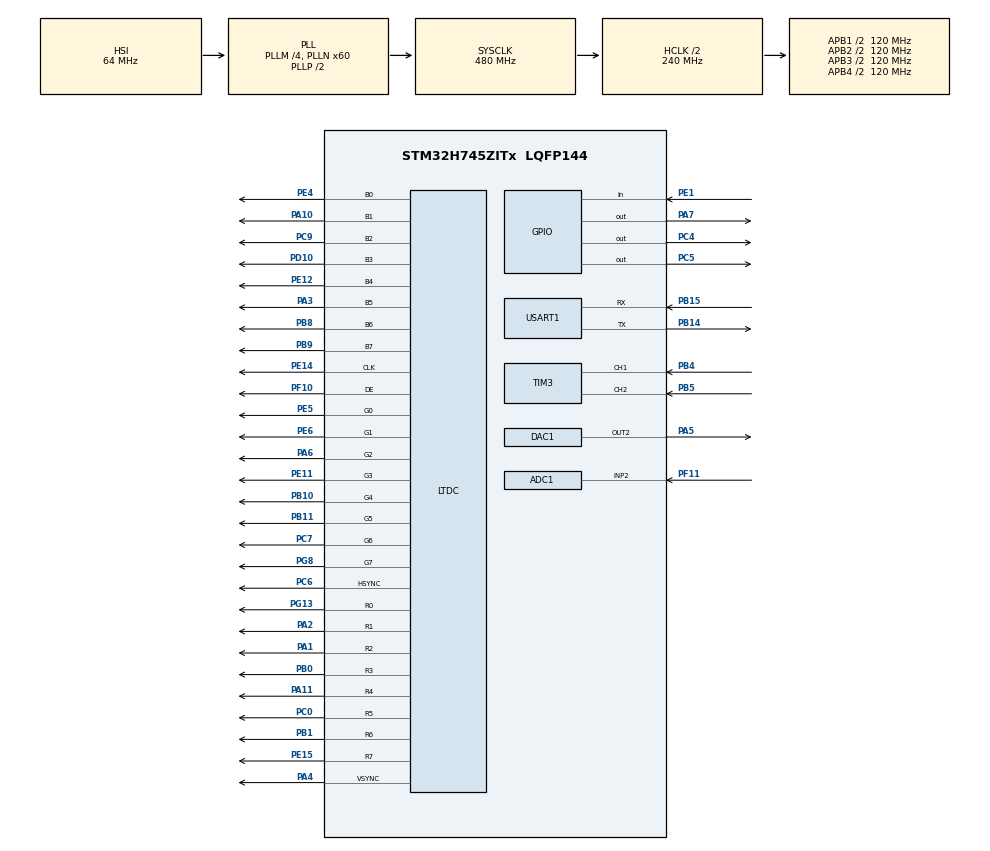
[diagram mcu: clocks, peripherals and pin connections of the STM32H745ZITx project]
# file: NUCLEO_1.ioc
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CORTEX_M7.default_mode_Activation=1
CortexM4.IPs=FATFS_M4\:I,FREERTOS_M4\:I,IWDG2\:I,RCC,WWDG2\:I,DMA,BDMA,MDMA,NVIC2\:I,DEBUG,PDM2PCM_M4\:I,PWR,RESMGR_UTILITY,SYS_M4\:I,USB_DEVICE_M4\:I,USB_HOST_M4\:I,CORTEX_M4\:I,GPIO,OPENAMP_M4\:I,VREFBUF
CortexM7.IPs=FATFS_M7\:I,FREERTOS_M7\:I,IWDG1\:I,RCC\:I,WWDG1\:I,DMA\:I,BDMA\:I,MDMA\:I,NVIC1\:I,SYS\:I,CORTEX_M7\:I,DEBUG\:I,PDM2PCM_M7\:I,PWR\:I,RESMGR_UTILITY\:I,USB_DEVICE_M7\:I,USB_HOST_M7\:I,GPIO\:I,OPENAMP_M7\:I,VREFBUF\:I,LTDC\:I,TIM3\:I,USART1\:I,DAC1\:I,TIM6\:I,ADC1\:I,TIM2\:I
CortexM7.Pins=PA7,PC4,PC5,PE1
ADC1.Channel-0\#ChannelRegularConversion=ADC_CHANNEL_2
ADC1.ClockPrescaler=ADC_CLOCK_SYNC_PCLK_DIV4
ADC1.ContinuousConvMode=DISABLE
ADC1.ConversionDataManagement=ADC_CONVERSIONDATA_DMA_ONESHOT
ADC1.DiscontinuousConvMode=DISABLE
ADC1.EOCSelection=ADC_EOC_SINGLE_CONV
ADC1.ExternalTrigConv=ADC_EXTERNALTRIG_T2_TRGO
ADC1.ExternalTrigConvEdge=ADC_EXTERNALTRIGCONVEDGE_RISING
ADC1.LowPowerAutoWait=DISABLE
ADC1.NbrOfConversion=1
ADC1.OffsetNumber-0\#ChannelRegularConversion=ADC_OFFSET_NONE
ADC1.Overrun=ADC_OVR_DATA_OVERWRITTEN
ADC1.OversamplingMode=DISABLE
ADC1.Rank-0\#ChannelRegularConversion=1
ADC1.Resolution=ADC_RESOLUTION_12B
ADC1.SamplingTime-0\#ChannelRegularConversion=ADC_SAMPLETIME_8CYCLES_5
ADC1.ScanConvMode=ADC_SCAN_DISABLE
DAC1.DAC2_OutputBuffer-DAC_OUT2=DAC_OUTPUTBUFFER_DISABLE
DAC1.DAC_Channel-DAC_OUT2=DAC_CHANNEL_2
DAC1.DAC_Trigger-DAC_OUT2=DAC_TRIGGER_T6_TRGO
Dma.DAC1_CH2.0.Direction=DMA_MEMORY_TO_PERIPH
Dma.DAC1_CH2.0.EventEnable=DISABLE
Dma.DAC1_CH2.0.FIFOMode=DMA_FIFOMODE_DISABLE
Dma.DAC1_CH2.0.Instance=DMA1_Stream0
Dma.DAC1_CH2.0.MemDataAlignment=DMA_MDATAALIGN_HALFWORD
Dma.DAC1_CH2.0.MemInc=DMA_MINC_ENABLE
Dma.DAC1_CH2.0.Mode=DMA_CIRCULAR
Dma.DAC1_CH2.0.PeriphDataAlignment=DMA_PDATAALIGN_HALFWORD
Dma.DAC1_CH2.0.PeriphInc=DMA_PINC_DISABLE
Dma.DAC1_CH2.0.Polarity=HAL_DMAMUX_REQ_GEN_RISING
Dma.DAC1_CH2.0.Priority=DMA_PRIORITY_LOW
Dma.DAC1_CH2.0.RequestNumber=1
Dma.DAC1_CH2.0.SignalID=NONE
Dma.DAC1_CH2.0.SyncEnable=DISABLE
Dma.DAC1_CH2.0.SyncPolarity=HAL_DMAMUX_SYNC_NO_EVENT
Dma.DAC1_CH2.0.SyncRequestNumber=1
Dma.DAC1_CH2.0.SyncSignalID=NONE
Dma.Request0=DAC1_CH2
Dma.ADC1.0.Direction=DMA_PERIPH_TO_MEMORY
Dma.ADC1.0.EventEnable=DISABLE
Dma.ADC1.0.FIFOMode=DMA_FIFOMODE_DISABLE
Dma.ADC1.0.Instance=DMA1_Stream1
Dma.ADC1.0.MemDataAlignment=DMA_MDATAALIGN_HALFWORD
Dma.ADC1.0.MemInc=DMA_MINC_ENABLE
Dma.ADC1.0.Mode=DMA_NORMAL
Dma.ADC1.0.PeriphDataAlignment=DMA_PDATAALIGN_HALFWORD
Dma.ADC1.0.PeriphInc=DMA_PINC_DISABLE
Dma.ADC1.0.Polarity=HAL_DMAMUX_REQ_GEN_RISING
Dma.ADC1.0.Priority=DMA_PRIORITY_HIGH
Dma.ADC1.0.RequestNumber=1
Dma.ADC1.0.SignalID=NONE
Dma.ADC1.0.SyncEnable=DISABLE
Dma.ADC1.0.SyncPolarity=HAL_DMAMUX_SYNC_NO_EVENT
Dma.ADC1.0.SyncRequestNumber=1
Dma.ADC1.0.SyncSignalID=NONE
Dma.Request1=ADC1
LTDC.ActiveW=800
LTDC.Alpha_L0=255
LTDC.FBStartAdress_L0=0x24020000
LTDC.HBP=40
LTDC.HFP=48
LTDC.HSync=40
LTDC.ImageHeight_L0=480
LTDC.ImageWidth_L0=800
LTDC.Layers=0
LTDC.PixelFormat_L0=LTDC_PIXEL_FORMAT_L8
LTDC.VBP=32
LTDC.VFP=13
LTDC.VSync=1
LTDC.WindowX1_L0=800
LTDC.WindowY1_L0=480
Mcu.Family=STM32H7
Mcu.Name=STM32H745ZITx
Mcu.Package=LQFP144
NVIC1.ADC_IRQn=true\:1\:1\:false\:false\:true\:true\:true\:true
NVIC1.DMA1_Stream0_IRQn=true\:0\:0\:false\:false\:true\:false\:true\:true
NVIC1.DMA1_Stream1_IRQn=true\:1\:0\:false\:false\:true\:false\:true\:true
NVIC1.PriorityGroup=NVIC_PRIORITYGROUP_4
NVIC1.USART1_IRQn=true\:2\:0\:false\:false\:true\:true\:true\:true
NVIC2.PriorityGroup=NVIC_PRIORITYGROUP_4
PA1.Mode=RGB888
PA1.PinAttribute=CortexM7
PA1.Signal=LTDC_R2
PA10.Mode=RGB888
PA10.PinAttribute=CortexM7
PA10.Signal=LTDC_B1
PA11.Mode=RGB888
PA11.PinAttribute=CortexM7
PA11.Signal=LTDC_R4
PA13\ (JTMS/SWDIO).Mode=Serial_Wire
PA13\ (JTMS/SWDIO).PinAttribute=CortexM7
PA13\ (JTMS/SWDIO).Signal=DEBUG_JTMS-SWDIO
PA14\ (JTCK/SWCLK).Mode=Serial_Wire
PA14\ (JTCK/SWCLK).PinAttribute=CortexM7
PA14\ (JTCK/SWCLK).Signal=DEBUG_JTCK-SWCLK
PA2.Mode=RGB888
PA2.PinAttribute=CortexM7
PA2.Signal=LTDC_R1
PA3.Mode=RGB888
PA3.PinAttribute=CortexM7
PA3.Signal=LTDC_B5
PA4.Mode=RGB888
PA4.PinAttribute=CortexM7
PA4.Signal=LTDC_VSYNC
PA5.PinAttribute=CortexM7
PA5.Signal=COMP_DAC12_group
PA6.Mode=RGB888
PA6.PinAttribute=CortexM7
PA6.Signal=LTDC_G2
PA7.PinAttribute=CortexM7
PA7.Signal=GPIO_Output
PB0.Mode=RGB888
PB0.PinAttribute=CortexM7
PB0.Signal=LTDC_R3
PB1.Mode=RGB888
PB1.PinAttribute=CortexM7
PB1.Signal=LTDC_R6
PB10.Mode=RGB888
PB10.PinAttribute=CortexM7
PB10.Signal=LTDC_G4
PB11.Mode=RGB888
PB11.PinAttribute=CortexM7
PB11.Signal=LTDC_G5
PB14.Mode=Asynchronous
PB14.PinAttribute=CortexM7
PB14.Signal=USART1_TX
PB15.Mode=Asynchronous
PB15.PinAttribute=CortexM7
PB15.Signal=USART1_RX
PB4\ (NJTRST).GPIO_PuPd=GPIO_PULLUP
PB4\ (NJTRST).PinAttribute=CortexM7
PB4\ (NJTRST).Signal=S_TIM3_CH1
PB5.GPIO_PuPd=GPIO_PULLUP
PB5.PinAttribute=CortexM7
PB5.Signal=S_TIM3_CH2
PB8.Mode=RGB888
PB8.PinAttribute=CortexM7
PB8.Signal=LTDC_B6
PB9.Mode=RGB888
PB9.PinAttribute=CortexM7
PB9.Signal=LTDC_B7
PC0.Mode=RGB888
PC0.PinAttribute=CortexM7
PC0.Signal=LTDC_R5
PC14-OSC32_IN\ (OSC32_IN).PinAttribute=Free
PC14-OSC32_IN\ (OSC32_IN).Signal=RCC_OSC32_IN
PC15-OSC32_OUT\ (OSC32_OUT).PinAttribute=Free
PC15-OSC32_OUT\ (OSC32_OUT).Signal=RCC_OSC32_OUT
PC4.PinAttribute=CortexM7
PC4.Signal=GPIO_Output
PC5.GPIO_PuPd=GPIO_NOPULL
PC5.PinAttribute=CortexM7
PC5.PinState=GPIO_PIN_RESET
PC5.Signal=GPIO_Output
PC6.Mode=RGB888
PC6.PinAttribute=CortexM7
PC6.Signal=LTDC_HSYNC
PC7.Mode=RGB888
PC7.PinAttribute=CortexM7
PC7.Signal=LTDC_G6
PC9.Mode=RGB888
PC9.PinAttribute=CortexM7
PC9.Signal=LTDC_B2
PD10.Mode=RGB888
PD10.PinAttribute=CortexM7
PD10.Signal=LTDC_B3
PD8.GPIO_Label=STLINK_RX
PD8.PinAttribute=CortexM4
PD8.Signal=USART3_TX
PD9.GPIO_Label=STLINK_TX
PD9.PinAttribute=CortexM4
PD9.Signal=USART3_RX
PE1.GPIO_PuPd=GPIO_PULLUP
PE1.PinAttribute=CortexM7
PE1.Signal=GPIO_Input
PE11.Mode=RGB888
PE11.PinAttribute=CortexM7
PE11.Signal=LTDC_G3
PE12.Mode=RGB888
PE12.PinAttribute=CortexM7
PE12.Signal=LTDC_B4
PE14.Mode=RGB888
PE14.PinAttribute=CortexM7
PE14.Signal=LTDC_CLK
PE15.Mode=RGB888
PE15.PinAttribute=CortexM7
PE15.Signal=LTDC_R7
PE4.Mode=RGB888
PE4.PinAttribute=CortexM7
PE4.Signal=LTDC_B0
PE5.Mode=RGB888
PE5.PinAttribute=CortexM7
PE5.Signal=LTDC_G0
PE6.Mode=RGB888
PE6.PinAttribute=CortexM7
PE6.Signal=LTDC_G1
PF10.Mode=RGB888
PF10.PinAttribute=CortexM7
PF10.Signal=LTDC_DE
PF11.Mode=IN2-Single-Ended
PF11.PinAttribute=CortexM7
PF11.Signal=ADC1_INP2
PG13.Mode=RGB888
PG13.PinAttribute=CortexM7
PG13.Signal=LTDC_R0
PG8.Mode=RGB888
PG8.PinAttribute=CortexM7
PG8.Signal=LTDC_G7
PH0-OSC_IN\ (PH0).Mode=HSE-External-Oscillator
PH0-OSC_IN\ (PH0).PinAttribute=Free
PH0-OSC_IN\ (PH0).Signal=RCC_OSC_IN
PH1-OSC_OUT\ (PH1).Mode=HSE-External-Oscillator
PH1-OSC_OUT\ (PH1).PinAttribute=Free
PH1-OSC_OUT\ (PH1).Signal=RCC_OSC_OUT
ProjectManager.HeapSize=M4-0x200,M7-0x200
ProjectManager.StackSize=M4-0x400,M7-0x400
ProjectManager.TargetToolchain=CMake
RCC.ADCFreq_Value=129000000
RCC.APB1Freq_Value=120000000
RCC.APB2Freq_Value=120000000
RCC.APB3Freq_Value=120000000
RCC.APB4Freq_Value=120000000
RCC.CortexFreq_Value=480000000
RCC.D1PPRE=RCC_APB3_DIV2
RCC.D2PPRE1=RCC_APB1_DIV2
RCC.D2PPRE2=RCC_APB2_DIV2
RCC.D3PPRE=RCC_APB4_DIV2
RCC.DIVM1=4
RCC.DIVM3=4
RCC.DIVN1=60
RCC.DIVN3=15
RCC.DIVQ3=4
RCC.DIVR3=8
RCC.HCLKFreq_Value=240000000
RCC.HPRE=RCC_HCLK_DIV2
RCC.PLL2FRACN=0
RCC.PLL3FRACN=0
RCC.PLLFRACN=0
RCC.SYSCLKFreq_VALUE=480000000
RCC.SYSCLKSource=RCC_SYSCLKSOURCE_PLLCLK
RCC.SupplySource=PWR_DIRECT_SMPS_SUPPLY
RCC.USBCLockSelection=RCC_USBCLKSOURCE_PLL3
RCC.USBFreq_Value=60000000
SH.COMP_DAC12_group.0=DAC1_OUT2,DAC_OUT2
SH.S_TIM3_CH1.0=TIM3_CH1,Encoder_Interface
SH.S_TIM3_CH2.0=TIM3_CH2,Encoder_Interface
TIM3.EncoderMode=TIM_ENCODERMODE_TI12
TIM3.IC1Filter=10
TIM3.IC2Filter=10
TIM2.Period=239
TIM2.TIM_MasterOutputTrigger=TIM_TRGO_UPDATE
TIM6.Period=100
TIM6.TIM_MasterOutputTrigger=TIM_TRGO_UPDATE
USART1.VirtualMode-Asynchronous=VM_ASYNC
VP_SYS_M4_VS_Systick.Mode=SysTick
VP_TIM2_VS_ClockSourceINT.Mode=Enable_Timer
VP_TIM6_VS_ClockSourceINT.Mode=Enable_Timer
board=NUCLEO-H745ZI-Q

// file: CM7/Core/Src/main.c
/* USER CODE BEGIN Header */
/**
  ******************************************************************************
  * @file           : main.c
  * @brief          : Main program body
  ******************************************************************************
  * @attention
  *
  * Copyright (c) 2026 STMicroelectronics.
  * All rights reserved.
  *
  * This software is licensed under terms that can be found in the LICENSE file
  * in the root directory of this software component.
  * If no LICENSE file comes with this software, it is provided AS-IS.
  *
  ******************************************************************************
  */
/* USER CODE END Header */
#include "main.h"

/* USER CODE BEGIN Includes */
#include <math.h>  // 提供 sin() 函数支持
#include <stdlib.h> // 提供 abs() 函数支持
#include <stdio.h>
#include <stdarg.h>
#include <string.h>
#include "graph.h"
#include "display.h"
#include "generate.h"
#include "oscilloscope.h"
/* USER CODE END Includes */

/* USER CODE BEGIN PD */

/* DUAL_CORE_BOOT_SYNC_SEQUENCE: Define for dual core boot synchronization    */
/*                             demonstration code based on hardware semaphore */
/* This define is present in both CM7/CM4 projects                            */
/* To comment when developping/debugging on a single core                     */
// #define DUAL_CORE_BOOT_SYNC_SEQUENCE
//
// #if defined(DUAL_CORE_BOOT_SYNC_SEQUENCE)
// #ifndef HSEM_ID_0
// #define HSEM_ID_0 (0U) /* HW semaphore 0*/
// #endif
// #endif /* DUAL_CORE_BOOT_SYNC_SEQUENCE */

/* USER CODE END PD */

ADC_HandleTypeDef hadc1;
DMA_HandleTypeDef hdma_adc1;

DAC_HandleTypeDef hdac1;
DMA_HandleTypeDef hdma_dac1_ch2;

LTDC_HandleTypeDef hltdc;

TIM_HandleTypeDef htim3;
TIM_HandleTypeDef htim6;
TIM_HandleTypeDef htim2;

UART_HandleTypeDef huart1;

void SystemClock_Config(void);
static void MPU_Config(void);
static void MX_GPIO_Init(void);
static void MX_DMA_Init(void);
static void MX_ADC1_Init(void);
static void MX_LTDC_Init(void);
static void MX_TIM2_Init(void);
static void MX_TIM3_Init(void);
static void MX_USART1_UART_Init(void);
static void MX_DAC1_Init(void);
static void MX_TIM6_Init(void);

/* USER CODE BEGIN 0 */

// 💥 封装一个硬件同步中心：把 0~3.3V 转化为 0~2047 写入底层
void Sync_Hardware_WaveGen(void) {
    float hw_amp = (wg_amp / 3.3f) * 2047.0f;
    DAC_WaveGen_Configure(wg_wave, hw_amp, (uint32_t)wg_freq);
}

// 双指手势引擎内部变量
static uint16_t last_pinch_dist_x = 0;
static uint16_t last_pinch_dist_y = 0;
static uint8_t is_pinching = 0;

// 极客专属：格式化串口发送函数
void UART_SendToF103(const char *format, ...) {
    char tx_buf[64];
    va_list args;
    va_start(args, format);
    vsnprintf(tx_buf, sizeof(tx_buf), format, args);
    va_end(args);
    HAL_UART_Transmit(&huart1, (uint8_t*)tx_buf, strlen(tx_buf), 100);
}

// 触摸与重绘全局标志
volatile uint8_t global_needs_redraw = 0;
uint8_t h7_rx_byte;
static uint8_t touch_rx[256];
static volatile uint16_t touch_head, touch_tail;
static volatile uint8_t touch_overflow;
static void Poll_Touch_Input(void);

static void Reset_Current_Mode(void) {
    UI_OutputTouchCancel(HAL_GetTick());
    if (current_sys_state != SYS_OSC && current_sys_state != SYS_GEN) return;
    if (current_sys_state == SYS_OSC) {
        Oscilloscope_ResetControls();
        current_ctrl = CTRL_TIMEBASE;
    } else if (current_sys_state == SYS_GEN) {
        wg_freq = 1000.0f;
        wg_amp = 3.3f;
        wg_wave = WAVE_SINE;
        wg_ctrl = 0U;
        wg_enabled = 0U;
        DAC_WaveGen_SetEnabled(0U);
        Sync_Hardware_WaveGen();
        UART_SendToF103("F:1000\n");
        UART_SendToF103("A:3.3\n");
    }
    UI_NotifyReset(HAL_GetTick());
    global_needs_redraw = 1U;
}

// =========================================================
// 核心：带有“防抖与差分拦截”的触摸碰撞引擎
// =========================================================
void Process_Touch_Interaction(uint16_t x, uint16_t y) {
    UI_OutputTouchCancel(HAL_GetTick());
    global_needs_redraw = 1U;
    is_pinching = 0;
    UiAction action = UI_HitTest(current_sys_state, x, y);
    if (action == UI_NONE) return;
    UI_NotifyTouch(action, HAL_GetTick());
    switch (action) {
    case UI_HOME:
        /* Keep RUN live on Home; HOLD/SINGLE state remains authoritative. */
        current_sys_state = SYS_MAIN_MENU;
        UART_SendToF103("I:\n");
        break;
    case UI_OSC:
        main_menu_sel = 0;
        current_sys_state = SYS_OSC;
        break;
    case UI_GEN:
        main_menu_sel = 1;
        current_sys_state = SYS_GEN;
        UART_SendToF103("F:%d\n", (int)wg_freq);
        break;
    case UI_TIME: current_ctrl = CTRL_TIMEBASE; break;
    case UI_VOLTS: current_ctrl = CTRL_VOLTS_DIV; break;
    case UI_TRIGGER: current_ctrl = CTRL_TRIGGER_LEVEL; break;
    case UI_POSITION: current_ctrl = CTRL_VERTICAL_POS; break;
    case UI_RUN: Oscilloscope_ToggleRun(); break;
    case UI_SLOPE:
        Oscilloscope_SetTriggerSlope(Oscilloscope_GetState()->trigger_slope ==
            OSC_TRIGGER_RISING ? OSC_TRIGGER_FALLING : OSC_TRIGGER_RISING);
        break;
    case UI_SINGLE: Oscilloscope_Single(); break;
    case UI_COARSE: Oscilloscope_SetFineAdjustment(false); break;
    case UI_FINE: Oscilloscope_SetFineAdjustment(true); break;
    case UI_SINE: case UI_SQUARE: case UI_TRIANGLE:
        wg_wave = action == UI_SINE ? WAVE_SINE :
                  action == UI_SQUARE ? WAVE_SQUARE : WAVE_TRIANGLE;
        Sync_Hardware_WaveGen();
        break;
    case UI_OUTPUT:
        UI_OutputTouchDown(x, y, HAL_GetTick());
        break;
    case UI_FREQUENCY: wg_ctrl = 0U; break;
    case UI_AMPLITUDE: wg_ctrl = 1U; break;
    case UI_MOTION: UI_ToggleMotion(); break;
    case UI_ABOUT: current_sys_state = SYS_ABOUT; break;
    case UI_THEME_DARK: UI_SelectTheme(UI_THEME_GRAPHITE); break;
    case UI_THEME_BLUE: UI_SelectTheme(UI_THEME_MIDNIGHT); break;
    case UI_THEME_LIGHT: UI_SelectTheme(UI_THEME_IVORY); break;
    default: break;
    }
    global_needs_redraw = 1U;
}

// =========================================================
// 双指操作支持
// =========================================================

void Process_Pinch_Gesture(uint16_t x1, uint16_t y1, uint16_t x2, uint16_t y2) {
    // 只有在示波器模式下才允许缩放波形
    if (current_sys_state != SYS_OSC) return;

    // 计算当前双指在 X 轴和 Y 轴上的绝对距离
    uint16_t dist_x = abs((int)x1 - (int)x2);
    uint16_t dist_y = abs((int)y1 - (int)y2);

    if (!is_pinching) {
        // 第一帧双指按下，只记录初始距离，不触发形变
        last_pinch_dist_x = dist_x;
        last_pinch_dist_y = dist_y;
        is_pinching = 1;
        return;
    }

    // 计算相对于上一帧的位移增量 (这就是虚拟旋转编码器的 diff！)
    int16_t diff_x = (int16_t)dist_x - (int16_t)last_pinch_dist_x;
    int16_t diff_y = (int16_t)dist_y - (int16_t)last_pinch_dist_y;

    // 更新距离历史
    last_pinch_dist_x = dist_x;
    last_pinch_dist_y = dist_y;

    uint8_t state_changed = 0;

    // 💥 轴向手势分离逻辑
    // 判断用户的意图是水平捏合（调时基/频率）还是垂直捏合（调幅值）

    if (abs(diff_x) > abs(diff_y) && abs(diff_x) > 2) {
        // 阈值设为 2 防止手抖抖动
        // 水平捏合：切换采样时基。

        // 双指拉开：减小 time/div，让波形沿水平方向放大；捏合则缩小。
        Oscilloscope_AdjustTimebase(diff_x > 0 ? -1 : 1);
        state_changed = 1;
    }
    else if (abs(diff_y) > abs(diff_x) && abs(diff_y) > 2) {
        // 垂直捏合：切换垂直 V/div 档位。

        // 双指拉开 (diff_y > 0)，幅值变大；捏合变小
        Oscilloscope_AdjustVoltsPerDiv(diff_y > 0 ? -1 : 1);
        state_changed = 1;
    }

    if (state_changed) {
        global_needs_redraw = 1;
    }
}

/* USER CODE END 0 */

int main(void)
{

/* USER CODE BEGIN Boot_Mode_Sequence_0 */
#if defined(DUAL_CORE_BOOT_SYNC_SEQUENCE)
  int32_t timeout;
#endif /* DUAL_CORE_BOOT_SYNC_SEQUENCE */
/* USER CODE END Boot_Mode_Sequence_0 */

  /* MPU Configuration--------------------------------------------------------*/
  MPU_Config();

/* USER CODE BEGIN Boot_Mode_Sequence_1 */
#if defined(DUAL_CORE_BOOT_SYNC_SEQUENCE)
  /* Wait until CPU2 boots and enters in stop mode or timeout*/
  timeout = 0xFFFF;
  while((__HAL_RCC_GET_FLAG(RCC_FLAG_D2CKRDY) != RESET) && (timeout-- > 0));
  if ( timeout < 0 )
  {
  Error_Handler();
  }
#endif /* DUAL_CORE_BOOT_SYNC_SEQUENCE */
/* USER CODE END Boot_Mode_Sequence_1 */
  /* MCU Configuration--------------------------------------------------------*/

  /* Reset of all peripherals, Initializes the Flash interface and the Systick. */
  HAL_Init();

  /* Configure the system clock */
  SystemClock_Config();
/* USER CODE BEGIN Boot_Mode_Sequence_2 */
#if defined(DUAL_CORE_BOOT_SYNC_SEQUENCE)
/* When system initialization is finished, Cortex-M7 will release Cortex-M4 by means of
HSEM notification */
/*HW semaphore Clock enable*/
__HAL_RCC_HSEM_CLK_ENABLE();
/*Take HSEM */
HAL_HSEM_FastTake(HSEM_ID_0);
/*Release HSEM in order to notify the CPU2(CM4)*/
HAL_HSEM_Release(HSEM_ID_0,0);
/* wait until CPU2 wakes up from stop mode */
timeout = 0xFFFF;
while((__HAL_RCC_GET_FLAG(RCC_FLAG_D2CKRDY) == RESET) && (timeout-- > 0));
if ( timeout < 0 )
{
Error_Handler();
}
#endif /* DUAL_CORE_BOOT_SYNC_SEQUENCE */
/* USER CODE END Boot_Mode_Sequence_2 */

  /* Initialize all configured peripherals */
  MX_GPIO_Init();
  MX_DMA_Init();
  MX_ADC1_Init();
  MX_LTDC_Init();
  MX_TIM2_Init();
  MX_TIM3_Init();
  MX_USART1_UART_Init();
  MX_DAC1_Init();
  MX_TIM6_Init();
  /* USER CODE BEGIN 2 */

    UART_SendToF103("I:\n");

    // 装载默认波形参数；输出保持关闭，进入 GEN 后由 OUTPUT 按钮开启。
    Sync_Hardware_WaveGen();
    DAC_WaveGen_Init();

    UI_InitPalette();

    // 2. 启动编码器硬件解码！(TIM3)
    HAL_TIM_Encoder_Start(&htim3, TIM_CHANNEL_ALL);

    if (Oscilloscope_Init() != HAL_OK) {
        Error_Handler();
    }

    // Prepare a complete first frame before lighting the backlight.
    Display_Init();
    HAL_GPIO_WritePin(GPIOA, GPIO_PIN_7, GPIO_PIN_SET);

  /* USER CODE END 2 */

  /* Infinite loop */
  /* USER CODE BEGIN WHILE */

  // 别忘了在进入主循环前，开启串口接收中断，准备接收 F103 传来的触摸和手势数据
  HAL_UART_Receive_IT(&huart1, &h7_rx_byte, 1);

  int16_t last_encoder_cnt = (int16_t)__HAL_TIM_GET_COUNTER(&htim3);

  // Keep the initial ADC capture running for the Home live preview.
  Play_Cyber_Boot_Sequence();
  global_needs_redraw = 1U;

  while (1)
  {
      Poll_Touch_Input();
      // =========================================================
      // 编码器按键 (PE1)：无短按/长按复用，松开后只执行一次复位。
      // =========================================================
      static uint8_t encoder_btn_last = 1;
      static uint32_t btn_press_time = 0;

      uint8_t encoder_btn_now = HAL_GPIO_ReadPin(GPIOE, GPIO_PIN_1);

      // 只要处于低电平，就锁定旋钮防误触
      uint8_t is_button_pressing = (encoder_btn_now == GPIO_PIN_RESET);

      if (encoder_btn_last == 1 && encoder_btn_now == 0) {
          btn_press_time = HAL_GetTick();
      }

      if (encoder_btn_last == 0 && encoder_btn_now == 1) {
          if (HAL_GetTick() - btn_press_time >= 20U) {
              Reset_Current_Mode();
          }
      }

      encoder_btn_last = encoder_btn_now;

      // =========================================================
      // 唯一保留的物理输入：旋转编码器 (专职精细调参)
      // =========================================================
      int16_t current_cnt = (int16_t)__HAL_TIM_GET_COUNTER(&htim3);
      if (current_cnt != last_encoder_cnt) {
          int16_t diff = current_cnt - last_encoder_cnt;
          last_encoder_cnt = current_cnt;

          // 💥 只有在按键没被按下时，才允许响应旋转！(硬件与软件双重防误触)
          if (!is_button_pressing) {
              if (current_sys_state == SYS_OSC) {
                  UART_SendToF103("I:\n"); // 打断 F103 跑马灯
                  int16_t step = diff > 0 ? 1 : -1;
                  bool fine = Oscilloscope_GetState()->fine_adjustment;
                  switch (current_ctrl) {
                      case CTRL_TIMEBASE:
                          if (fine) Oscilloscope_AdjustTimebaseFine(step);
                          else Oscilloscope_AdjustTimebase(step);
                          break;
                      case CTRL_VOLTS_DIV:
                          if (fine) Oscilloscope_AdjustVoltsPerDivFine(step);
                          else Oscilloscope_AdjustVoltsPerDiv(step);
                          break;
                      case CTRL_TRIGGER_LEVEL:
                          if (fine) Oscilloscope_AdjustTriggerFine(-step);
                          else Oscilloscope_AdjustTrigger(-step);
                          break;
                      case CTRL_VERTICAL_POS:
                          if (fine) Oscilloscope_AdjustVerticalPositionFine(-step);
                          else Oscilloscope_AdjustVerticalPosition(-step);
                          break;
                  }
                  global_needs_redraw = 1;
              }
              else if (current_sys_state == SYS_GEN) {
                  if (wg_ctrl == 0) {
                      float step;

                      // 💥 核心逻辑：根据当前频率所在的区间，动态分配旋钮步长
                      if (wg_freq >= 10000.0f) {
                          step = 500.0f; // 大于等于 10k 时，步进 1kHz
                      } else if (wg_freq >= 1000.0f) {
                          step = 50.0f;  // 大于等于 1k 且小于 10k 时，步进 0.1kHz (100Hz)
                      } else {
                          step = 5.0f;    // 小于 1k 时，精细步进 5Hz
                      }

                      // 应用动态步长 (注意这里保留了你原来的 -= 逻辑，如果旋钮方向反了改成 += 即可)
                      wg_freq -= diff * step;

                      // 硬件物理极限防呆保护
                      if(wg_freq < 50.0f) wg_freq = 50.0f;
                      if(wg_freq > 100000.0f) wg_freq = 100000.0f;

                      UART_SendToF103("F:%d\n", (int)wg_freq); // 同步给 F103 VFD 屏幕
                  } else {
                      wg_amp -= diff * 0.05f;
                      if(wg_amp < 0.0f) wg_amp = 0.0f;
                      if(wg_amp > 3.3f) wg_amp = 3.3f;
                      int a_int = (int)wg_amp;
                      int a_frac = (int)((wg_amp - a_int) * 10);
                      UART_SendToF103("A:%d.%d\n", a_int, a_frac); // 同步给 F103
                  }

                  Sync_Hardware_WaveGen(); // 💥 旋钮调参完成，即时同步底层 DAC！

                  global_needs_redraw = 1;
              }
          }
      }

      // =========================================================
      // 统一渲染调度 (被触摸、手势或编码器触发)
      // =========================================================
      static uint32_t last_render = 0U;
      if (Oscilloscope_Poll() && (current_sys_state == SYS_OSC || current_sys_state == SYS_MAIN_MENU)) {
          global_needs_redraw = 1U;
      }
      uint32_t now = HAL_GetTick();
      if (UI_Tick(now)) global_needs_redraw = 1U;

      if (global_needs_redraw && now - last_render >= 33U && Display_BeginFrame()) {
          last_render = now;
          global_needs_redraw = 0; // 清除标志
          UI_Render();

          Display_Present();
      }

      HAL_Delay(1); // 动效按时间推进，输入处理不等待动效结束。
    /* USER CODE END WHILE */

  }
}

void SystemClock_Config(void)
{
  RCC_OscInitTypeDef RCC_OscInitStruct = {0};
  RCC_ClkInitTypeDef RCC_ClkInitStruct = {0};

  /** Supply configuration update enable
  */
  HAL_PWREx_ConfigSupply(PWR_DIRECT_SMPS_SUPPLY);

  /** Configure the main internal regulator output voltage
  */
  __HAL_PWR_VOLTAGESCALING_CONFIG(PWR_REGULATOR_VOLTAGE_SCALE0);

  while(!__HAL_PWR_GET_FLAG(PWR_FLAG_VOSRDY)) {}

  /** Initializes the RCC Oscillators according to the specified parameters
  * in the RCC_OscInitTypeDef structure.
  */
  RCC_OscInitStruct.OscillatorType = RCC_OSCILLATORTYPE_HSI;
  RCC_OscInitStruct.HSIState = RCC_HSI_DIV1;
  RCC_OscInitStruct.HSICalibrationValue = RCC_HSICALIBRATION_DEFAULT;
  RCC_OscInitStruct.PLL.PLLState = RCC_PLL_ON;
  RCC_OscInitStruct.PLL.PLLSource = RCC_PLLSOURCE_HSI;
  RCC_OscInitStruct.PLL.PLLM = 4;
  RCC_OscInitStruct.PLL.PLLN = 60;
  RCC_OscInitStruct.PLL.PLLP = 2;
  RCC_OscInitStruct.PLL.PLLQ = 2;
  RCC_OscInitStruct.PLL.PLLR = 2;
  RCC_OscInitStruct.PLL.PLLRGE = RCC_PLL1VCIRANGE_3;
  RCC_OscInitStruct.PLL.PLLVCOSEL = RCC_PLL1VCOWIDE;
  RCC_OscInitStruct.PLL.PLLFRACN = 0;
  if (HAL_RCC_OscConfig(&RCC_OscInitStruct) != HAL_OK)
  {
    Error_Handler();
  }

  /** Initializes the CPU, AHB and APB buses clocks
  */
  RCC_ClkInitStruct.ClockType = RCC_CLOCKTYPE_HCLK|RCC_CLOCKTYPE_SYSCLK
                              |RCC_CLOCKTYPE_PCLK1|RCC_CLOCKTYPE_PCLK2
                              |RCC_CLOCKTYPE_D3PCLK1|RCC_CLOCKTYPE_D1PCLK1;
  RCC_ClkInitStruct.SYSCLKSource = RCC_SYSCLKSOURCE_PLLCLK;
  RCC_ClkInitStruct.SYSCLKDivider = RCC_SYSCLK_DIV1;
  RCC_ClkInitStruct.AHBCLKDivider = RCC_HCLK_DIV2;
  RCC_ClkInitStruct.APB3CLKDivider = RCC_APB3_DIV2;
  RCC_ClkInitStruct.APB1CLKDivider = RCC_APB1_DIV2;
  RCC_ClkInitStruct.APB2CLKDivider = RCC_APB2_DIV2;
  RCC_ClkInitStruct.APB4CLKDivider = RCC_APB4_DIV2;

  if (HAL_RCC_ClockConfig(&RCC_ClkInitStruct, FLASH_LATENCY_4) != HAL_OK)
  {
    Error_Handler();
  }
}

static void MX_ADC1_Init(void)
{
  ADC_ChannelConfTypeDef sConfig = {0};

  hadc1.Instance = ADC1;
  hadc1.Init.ClockPrescaler = ADC_CLOCK_SYNC_PCLK_DIV4;
  hadc1.Init.Resolution = ADC_RESOLUTION_12B;
  hadc1.Init.ScanConvMode = ADC_SCAN_DISABLE;
  hadc1.Init.EOCSelection = ADC_EOC_SINGLE_CONV;
  hadc1.Init.LowPowerAutoWait = DISABLE;
  hadc1.Init.ContinuousConvMode = DISABLE;
  hadc1.Init.NbrOfConversion = 1;
  hadc1.Init.DiscontinuousConvMode = DISABLE;
  hadc1.Init.ExternalTrigConv = ADC_EXTERNALTRIG_T2_TRGO;
  hadc1.Init.ExternalTrigConvEdge = ADC_EXTERNALTRIGCONVEDGE_RISING;
  hadc1.Init.ConversionDataManagement = ADC_CONVERSIONDATA_DMA_ONESHOT;
  hadc1.Init.Overrun = ADC_OVR_DATA_OVERWRITTEN;
  hadc1.Init.LeftBitShift = ADC_LEFTBITSHIFT_NONE;
  hadc1.Init.OversamplingMode = DISABLE;
  if (HAL_ADC_Init(&hadc1) != HAL_OK)
  {
    Error_Handler();
  }

  sConfig.Channel = ADC_CHANNEL_2;
  sConfig.Rank = ADC_REGULAR_RANK_1;
  sConfig.SamplingTime = ADC_SAMPLETIME_8CYCLES_5;
  sConfig.SingleDiff = ADC_SINGLE_ENDED;
  sConfig.OffsetNumber = ADC_OFFSET_NONE;
  sConfig.Offset = 0;
  sConfig.OffsetSignedSaturation = DISABLE;
  if (HAL_ADC_ConfigChannel(&hadc1, &sConfig) != HAL_OK)
  {
    Error_Handler();
  }
}

static void MX_DAC1_Init(void)
{

  DAC_ChannelConfTypeDef sConfig = {0};

  /** DAC Initialization
  */
  hdac1.Instance = DAC1;
  if (HAL_DAC_Init(&hdac1) != HAL_OK)
  {
    Error_Handler();
  }

  /** DAC channel OUT2 config
  */
  sConfig.DAC_SampleAndHold = DAC_SAMPLEANDHOLD_DISABLE;
  sConfig.DAC_Trigger = DAC_TRIGGER_T6_TRGO;
  sConfig.DAC_OutputBuffer = DAC_OUTPUTBUFFER_DISABLE;
  sConfig.DAC_ConnectOnChipPeripheral = DAC_CHIPCONNECT_DISABLE;
  sConfig.DAC_UserTrimming = DAC_TRIMMING_FACTORY;
  if (HAL_DAC_ConfigChannel(&hdac1, &sConfig, DAC_CHANNEL_2) != HAL_OK)
  {
    Error_Handler();
  }

}

static void MX_LTDC_Init(void)
{

  hltdc.Instance = LTDC;
  hltdc.Init.HSPolarity = LTDC_HSPOLARITY_AL;
  hltdc.Init.VSPolarity = LTDC_VSPOLARITY_AL;
  hltdc.Init.DEPolarity = LTDC_DEPOLARITY_AL;
  hltdc.Init.PCPolarity = LTDC_PCPOLARITY_IPC;
  hltdc.Init.HorizontalSync = 39;
  hltdc.Init.VerticalSync = 0;
  hltdc.Init.AccumulatedHBP = 79;
  hltdc.Init.AccumulatedVBP = 32;
  hltdc.Init.AccumulatedActiveW = 879;
  hltdc.Init.AccumulatedActiveH = 512;
  hltdc.Init.TotalWidth = 927;
  hltdc.Init.TotalHeigh = 525;
  hltdc.Init.Backcolor.Blue = 0;
  hltdc.Init.Backcolor.Green = 0;
  hltdc.Init.Backcolor.Red = 0;
  if (HAL_LTDC_Init(&hltdc) != HAL_OK)
  {
    Error_Handler();
  }
  /* Display_Init configures scanout after its first frame is ready. */

}

static void MX_TIM2_Init(void)
{
  TIM_MasterConfigTypeDef sMasterConfig = {0};

  htim2.Instance = TIM2;
  htim2.Init.Prescaler = 0;
  htim2.Init.CounterMode = TIM_COUNTERMODE_UP;
  htim2.Init.Period = 239;
  htim2.Init.ClockDivision = TIM_CLOCKDIVISION_DIV1;
  htim2.Init.AutoReloadPreload = TIM_AUTORELOAD_PRELOAD_DISABLE;
  if (HAL_TIM_Base_Init(&htim2) != HAL_OK)
  {
    Error_Handler();
  }
  sMasterConfig.MasterOutputTrigger = TIM_TRGO_UPDATE;
  sMasterConfig.MasterSlaveMode = TIM_MASTERSLAVEMODE_DISABLE;
  if (HAL_TIMEx_MasterConfigSynchronization(&htim2, &sMasterConfig) != HAL_OK)
  {
    Error_Handler();
  }
}

static void MX_TIM3_Init(void)
{

  TIM_Encoder_InitTypeDef sConfig = {0};
  TIM_MasterConfigTypeDef sMasterConfig = {0};

  htim3.Instance = TIM3;
  htim3.Init.Prescaler = 0;
  htim3.Init.CounterMode = TIM_COUNTERMODE_UP;
  htim3.Init.Period = 65535;
  htim3.Init.ClockDivision = TIM_CLOCKDIVISION_DIV1;
  htim3.Init.AutoReloadPreload = TIM_AUTORELOAD_PRELOAD_DISABLE;
  sConfig.EncoderMode = TIM_ENCODERMODE_TI12;
  sConfig.IC1Polarity = TIM_ICPOLARITY_RISING;
  sConfig.IC1Selection = TIM_ICSELECTION_DIRECTTI;
  sConfig.IC1Prescaler = TIM_ICPSC_DIV1;
  sConfig.IC1Filter = 10;
  sConfig.IC2Polarity = TIM_ICPOLARITY_RISING;
  sConfig.IC2Selection = TIM_ICSELECTION_DIRECTTI;
  sConfig.IC2Prescaler = TIM_ICPSC_DIV1;
  sConfig.IC2Filter = 10;
  if (HAL_TIM_Encoder_Init(&htim3, &sConfig) != HAL_OK)
  {
    Error_Handler();
  }
  sMasterConfig.MasterOutputTrigger = TIM_TRGO_RESET;
  sMasterConfig.MasterSlaveMode = TIM_MASTERSLAVEMODE_DISABLE;
  if (HAL_TIMEx_MasterConfigSynchronization(&htim3, &sMasterConfig) != HAL_OK)
  {
    Error_Handler();
  }

}

static void MX_TIM6_Init(void)
{

  TIM_MasterConfigTypeDef sMasterConfig = {0};

  htim6.Instance = TIM6;
  htim6.Init.Prescaler = 0;
  htim6.Init.CounterMode = TIM_COUNTERMODE_UP;
  htim6.Init.Period = 100;
  htim6.Init.AutoReloadPreload = TIM_AUTORELOAD_PRELOAD_DISABLE;
  if (HAL_TIM_Base_Init(&htim6) != HAL_OK)
  {
    Error_Handler();
  }
  sMasterConfig.MasterOutputTrigger = TIM_TRGO_UPDATE;
  sMasterConfig.MasterSlaveMode = TIM_MASTERSLAVEMODE_DISABLE;
  if (HAL_TIMEx_MasterConfigSynchronization(&htim6, &sMasterConfig) != HAL_OK)
  {
    Error_Handler();
  }

}

static void MX_USART1_UART_Init(void)
{

  huart1.Instance = USART1;
  huart1.Init.BaudRate = 115200;
  huart1.Init.WordLength = UART_WORDLENGTH_8B;
  huart1.Init.StopBits = UART_STOPBITS_1;
  huart1.Init.Parity = UART_PARITY_NONE;
  huart1.Init.Mode = UART_MODE_TX_RX;
  huart1.Init.HwFlowCtl = UART_HWCONTROL_NONE;
  huart1.Init.OverSampling = UART_OVERSAMPLING_16;
  huart1.Init.OneBitSampling = UART_ONE_BIT_SAMPLE_DISABLE;
  huart1.Init.ClockPrescaler = UART_PRESCALER_DIV1;
  huart1.AdvancedInit.AdvFeatureInit = UART_ADVFEATURE_NO_INIT;
  if (HAL_UART_Init(&huart1) != HAL_OK)
  {
    Error_Handler();
  }
  if (HAL_UARTEx_SetTxFifoThreshold(&huart1, UART_TXFIFO_THRESHOLD_1_8) != HAL_OK)
  {
    Error_Handler();
  }
  if (HAL_UARTEx_SetRxFifoThreshold(&huart1, UART_RXFIFO_THRESHOLD_1_8) != HAL_OK)
  {
    Error_Handler();
  }
  if (HAL_UARTEx_DisableFifoMode(&huart1) != HAL_OK)
  {
    Error_Handler();
  }

}

static void MX_DMA_Init(void)
{

  /* DMA controller clock enable */
  __HAL_RCC_DMA1_CLK_ENABLE();

  /* DMA interrupt init */
  /* DMA1_Stream0_IRQn interrupt configuration */
  HAL_NVIC_SetPriority(DMA1_Stream0_IRQn, 0, 0);
  HAL_NVIC_EnableIRQ(DMA1_Stream0_IRQn);
  /* DMA1_Stream1_IRQn interrupt configuration */
  HAL_NVIC_SetPriority(DMA1_Stream1_IRQn, 1, 0);
  HAL_NVIC_EnableIRQ(DMA1_Stream1_IRQn);

}

static void MX_GPIO_Init(void)
{
  GPIO_InitTypeDef GPIO_InitStruct = {0};

  /* GPIO Ports Clock Enable */
  __HAL_RCC_GPIOE_CLK_ENABLE();
  __HAL_RCC_GPIOF_CLK_ENABLE();
  __HAL_RCC_GPIOC_CLK_ENABLE();
  __HAL_RCC_GPIOA_CLK_ENABLE();
  __HAL_RCC_GPIOB_CLK_ENABLE();
  __HAL_RCC_GPIOD_CLK_ENABLE();
  __HAL_RCC_GPIOG_CLK_ENABLE();

  /*Configure GPIO pin Output Level */
  HAL_GPIO_WritePin(GPIOA, GPIO_PIN_7, GPIO_PIN_RESET);

  /*Configure GPIO pin Output Level */
  HAL_GPIO_WritePin(GPIOC, GPIO_PIN_4|GPIO_PIN_5, GPIO_PIN_RESET);

  /*Configure GPIO pin : PA7 */
  GPIO_InitStruct.Pin = GPIO_PIN_7;
  GPIO_InitStruct.Mode = GPIO_MODE_OUTPUT_PP;
  GPIO_InitStruct.Pull = GPIO_NOPULL;
  GPIO_InitStruct.Speed = GPIO_SPEED_FREQ_LOW;
  HAL_GPIO_Init(GPIOA, &GPIO_InitStruct);

  /*Configure GPIO pins : PC4 PC5 */
  GPIO_InitStruct.Pin = GPIO_PIN_4|GPIO_PIN_5;
  GPIO_InitStruct.Mode = GPIO_MODE_OUTPUT_PP;
  GPIO_InitStruct.Pull = GPIO_NOPULL;
  GPIO_InitStruct.Speed = GPIO_SPEED_FREQ_LOW;
  HAL_GPIO_Init(GPIOC, &GPIO_InitStruct);

  /*Configure GPIO pin : PE1 */
  GPIO_InitStruct.Pin = GPIO_PIN_1;
  GPIO_InitStruct.Mode = GPIO_MODE_INPUT;
  GPIO_InitStruct.Pull = GPIO_PULLUP;
  HAL_GPIO_Init(GPIOE, &GPIO_InitStruct);

}

/* USER CODE BEGIN 4 */
void HAL_ADC_ConvCpltCallback(ADC_HandleTypeDef *hadc)
{
    Oscilloscope_OnConversionComplete(hadc);
}

void HAL_ADC_ErrorCallback(ADC_HandleTypeDef *hadc)
{
    Oscilloscope_OnError(hadc);
}

void HAL_UART_RxCpltCallback(UART_HandleTypeDef *huart) {
    if (huart->Instance == USART1) {
        uint16_t next = (touch_head + 1U) & 255U;
        if (next != touch_tail) {
            touch_rx[touch_head] = h7_rx_byte;
            __DMB();
            touch_head = next;
        } else {
            touch_overflow = 1U;
        }
        // ISR only receives bytes. Parsing, drawing and ADC/DAC changes run in main.
        HAL_UART_Receive_IT(&huart1, &h7_rx_byte, 1);
    }
}

void HAL_UART_ErrorCallback(UART_HandleTypeDef *huart) {
    if (huart->Instance == USART1) {
        touch_overflow = 1U;
        HAL_UART_Receive_IT(&huart1, &h7_rx_byte, 1);
    }
}

static void Poll_Touch_Input(void) {
    static char command[32];
    static uint8_t length, discard;
    if (touch_overflow) {
        uint32_t primask = __get_PRIMASK();
        __disable_irq();
        touch_tail = touch_head;
        touch_overflow = 0U;
        __set_PRIMASK(primask);
        length = 0U;
        discard = 1U;
        is_pinching = 0U;
        UI_OutputTouchCancel(HAL_GetTick());
        global_needs_redraw = 1U;
    }
    // Bound each pass so malformed/continuous input cannot starve acquisition.
    for (unsigned budget = 0; budget < 256U && touch_tail != touch_head; ++budget) {
        __DMB();
        uint8_t byte = touch_rx[touch_tail];
        __DMB();
        touch_tail = (touch_tail + 1U) & 255U;
        if (byte == '\r') continue;
        if (byte != '\n') {
            if (!discard && length < sizeof(command) - 1U) command[length++] = byte;
            else discard = 1U;
            continue;
        }
        command[length] = '\0';
        if (!discard) {
            int x1, y1, x2, y2;
            char extra;
            if (sscanf(command, "T:%4d,%4d%c", &x1, &y1, &extra) == 2 &&
                x1 >= 0 && x1 < 800 && y1 >= 0 && y1 < 480) {
                Process_Touch_Interaction((uint16_t)x1, (uint16_t)y1);
            } else if (sscanf(command, "D:%4d,%4d%c", &x1, &y1, &extra) == 2 &&
                x1 >= 0 && x1 < 800 && y1 >= 0 && y1 < 480) {
                if (UI_OutputTouchMove((uint16_t)x1, (uint16_t)y1, HAL_GetTick())) {
                    global_needs_redraw = 1U;
                }
            } else if (sscanf(command, "M:%4d,%4d,%4d,%4d%c", &x1, &y1, &x2, &y2, &extra) == 4 &&
                x1 >= 0 && x1 < 800 && y1 >= 0 && y1 < 480 &&
                x2 >= 0 && x2 < 800 && y2 >= 0 && y2 < 480) {
                UI_OutputTouchCancel(HAL_GetTick());
                global_needs_redraw = 1U;
                Process_Pinch_Gesture((uint16_t)x1, (uint16_t)y1, (uint16_t)x2, (uint16_t)y2);
            } else if (strcmp(command, "C:") == 0) {
                UI_OutputTouchCancel(HAL_GetTick());
                is_pinching = 0U;
                global_needs_redraw = 1U;
            } else if (strcmp(command, "U:") == 0) {
                is_pinching = 0U;
                if (UI_OutputTouchRelease(HAL_GetTick())) {
                    DAC_WaveGen_SetEnabled(wg_enabled);
                }
                global_needs_redraw = 1U;
            } else {
                UI_OutputTouchCancel(HAL_GetTick());
                global_needs_redraw = 1U;
            }
        } else {
            UI_OutputTouchCancel(HAL_GetTick());
            global_needs_redraw = 1U;
        }
        length = 0U;
        discard = 0U;
    }
}

/* USER CODE END 4 */

 /* MPU Configuration */

void MPU_Config(void)
{
  MPU_Region_InitTypeDef MPU_InitStruct = {0};

  /* Disables the MPU */
  HAL_MPU_Disable();

  /** Initializes and configures the Region and the memory to be protected
  */
  MPU_InitStruct.Enable = MPU_REGION_ENABLE;
  MPU_InitStruct.Number = MPU_REGION_NUMBER0;
  MPU_InitStruct.BaseAddress = 0x0;
  MPU_InitStruct.Size = MPU_REGION_SIZE_4GB;
  MPU_InitStruct.SubRegionDisable = 0x87;
  MPU_InitStruct.TypeExtField = MPU_TEX_LEVEL0;
  MPU_InitStruct.AccessPermission = MPU_REGION_NO_ACCESS;
  MPU_InitStruct.DisableExec = MPU_INSTRUCTION_ACCESS_DISABLE;
  MPU_InitStruct.IsShareable = MPU_ACCESS_SHAREABLE;
  MPU_InitStruct.IsCacheable = MPU_ACCESS_NOT_CACHEABLE;
  MPU_InitStruct.IsBufferable = MPU_ACCESS_NOT_BUFFERABLE;

  HAL_MPU_ConfigRegion(&MPU_InitStruct);
  /* Enables the MPU */
  HAL_MPU_Enable(MPU_PRIVILEGED_DEFAULT);

}

void Error_Handler(void)
{
  __disable_irq();
  while (1)
  {
  }
}
